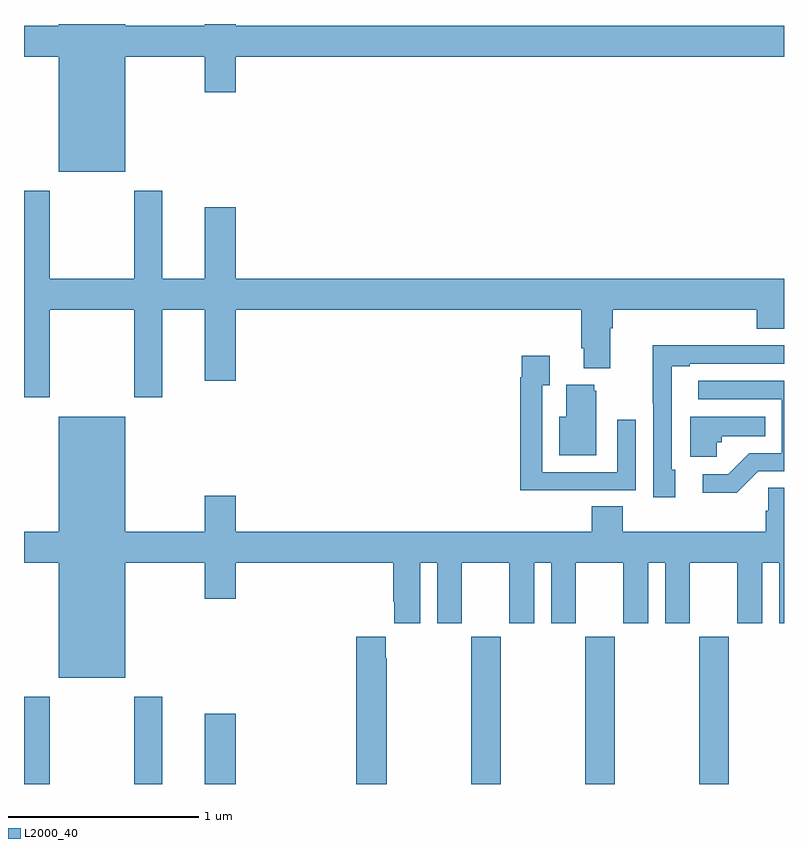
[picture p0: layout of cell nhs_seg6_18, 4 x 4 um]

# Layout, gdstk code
import gdstk
lib = gdstk.Library(unit=1e-6, precision=1e-09)
def R(c, l, rs):  # rectangles x0, y0, x1, y1
    for r in rs: c.add(gdstk.rectangle(r[:2], r[2:], *l))
def A(c, l, x, y, w, h, nx, ny, dx, dy):  # array of equal rectangles
    R(c, l, [(x+i*dx, y+j*dy, x+i*dx+w, y+j*dy+h) for i in range(nx) for j in range(ny)])
def P(c, l, *ps):  # polygons
    for p in ps: c.add(gdstk.Polygon(p, *l))
L2000_40 = (2000, 40)

nhs_seg6_18 = lib.new_cell('nhs_seg6_18')
A(nhs_seg6_18, L2000_40, 113.353, 951.5, 0.155, 0.776, 3, 1, 0.6, 0)
R(nhs_seg6_18, L2000_40, [(111,951.5,111.135,951.958), (111.58,951.5,111.727,951.958), (111.95,951.5,112.114,951.871)])
P(nhs_seg6_18, L2000_40, [(111.532,955.328),(111.95,955.328),(111.95,955.14),(112.114,955.14),(112.114,955.328),(115,955.328),(115,955.492),(112.114,955.492),(112.114,955.5),(111.95,955.5),(111.95,955.492),(111.532,955.492),(111.532,955.5),(111.182,955.5),(111.182,955.492),(111,955.492),(111,955.328),(111.182,955.328),(111.182,954.722),(111.532,954.722)],
  [(111.135,953.996),(111.58,953.996),(111.58,953.535),(111.727,953.535),(111.727,953.996),(111.95,953.996),(111.95,953.622),(112.114,953.622),(112.114,953.996),(113.933,953.996),(113.933,953.794),(113.945,953.794),(113.945,953.687),(114.085,953.687),(114.085,953.9),(114.098,953.9),(114.098,953.996),(114.857,953.996),(114.857,953.897),(115,953.897),(115,954.16),(112.114,954.16),(112.114,954.535),(111.95,954.535),(111.95,954.16),(111.727,954.16),(111.727,954.622),(111.58,954.622),(111.58,954.16),(111.135,954.16),(111.135,954.622),(111,954.622),(111,953.535),(111.135,953.535)],
  [(114.427,953.154),(114.408,953.154),(114.408,953.7),(114.505,953.7),(114.505,953.712),(115,953.712),(115,953.808),(114.773,953.808),(114.773,953.81),(114.31,953.81),(114.31,953.503),(114.312,953.503),(114.312,953.01),(114.427,953.01)],
  [(113.903,953.046),(114.219,953.046),(114.219,953.416),(114.123,953.416),(114.123,953.142),(113.727,953.142),(113.727,953.599),(113.767,953.599),(113.767,953.755),(113.619,953.755),(113.619,953.642),(113.611,953.642),(113.611,953.045),(113.903,953.045)],
  [(114.864,953.145),(115,953.145),(115,953.622),(114.549,953.622),(114.549,953.526),(114.987,953.526),(114.987,953.241),(114.818,953.241),(114.707,953.13),(114.573,953.13),(114.573,953.033),(114.751,953.033)],
  [(114.013,953.571),(114.002,953.571),(114.002,953.602),(113.855,953.602),(113.855,953.434),(113.816,953.434),(113.816,953.231),(114.013,953.231)],
  [(114.645,953.298),(114.672,953.298),(114.672,953.33),(114.902,953.33),(114.902,953.434),(114.506,953.434),(114.506,953.222),(114.645,953.222)],
  [(111.532,952.664),(111.95,952.664),(111.95,952.476),(112.114,952.476),(112.114,952.664),(112.943,952.664),(112.943,952.459),(112.949,952.459),(112.949,952.347),(113.086,952.347),(113.086,952.664),(113.174,952.664),(113.174,952.347),(113.305,952.347),(113.305,952.664),(113.555,952.664),(113.555,952.347),(113.686,952.347),(113.686,952.664),(113.774,952.664),(113.774,952.347),(113.905,952.347),(113.905,952.664),(114.155,952.664),(114.155,952.347),(114.286,952.347),(114.286,952.664),(114.374,952.664),(114.374,952.347),(114.505,952.347),(114.505,952.664),(114.755,952.664),(114.755,952.347),(114.886,952.347),(114.886,952.664),(114.974,952.664),(114.974,952.347),(115,952.347),(115,953.06),(114.918,953.06),(114.918,952.937),(114.905,952.937),(114.905,952.828),(114.152,952.828),(114.152,952.961),(113.987,952.961),(113.987,952.828),(112.114,952.828),(112.114,953.017),(111.95,953.017),(111.95,952.828),(111.532,952.828),(111.532,953.434),(111.182,953.434),(111.182,952.828),(111,952.828),(111,952.664),(111.182,952.664),(111.182,952.058),(111.532,952.058)],
  [(112.908,952.163),(112.903,952.163),(112.903,952.276),(112.748,952.276),(112.748,951.5),(112.908,951.5)])

lib.write_gds('nhs_seg6_18.gds')
